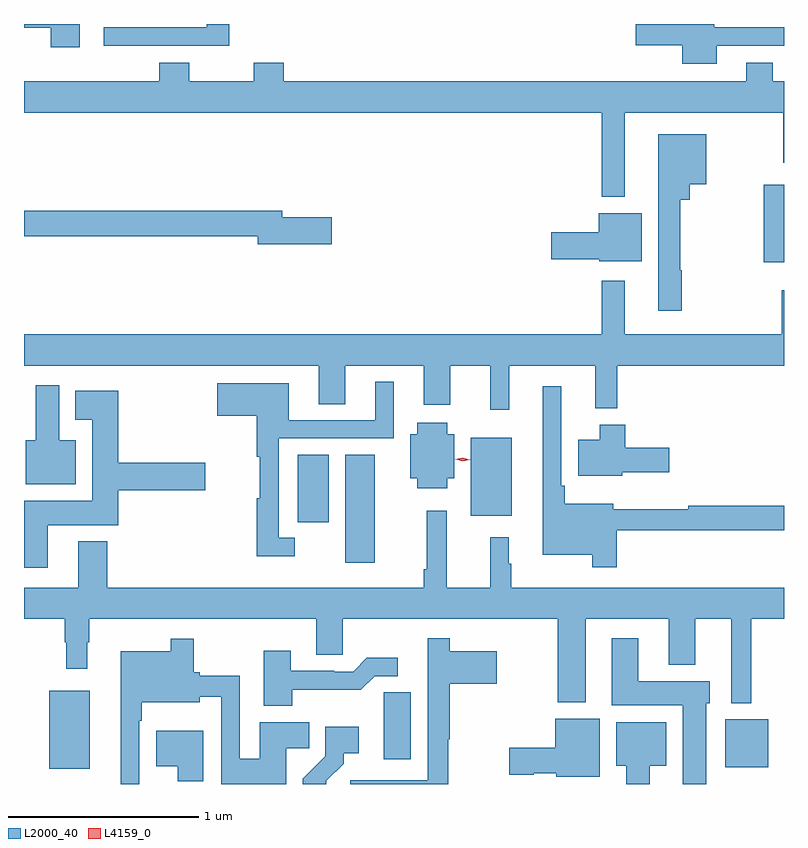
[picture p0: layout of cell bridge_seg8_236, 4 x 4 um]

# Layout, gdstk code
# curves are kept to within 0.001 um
import gdstk
lib = gdstk.Library(unit=1e-6, precision=1e-09)
def R(c, l, rs):  # rectangles x0, y0, x1, y1
    for r in rs: c.add(gdstk.rectangle(r[:2], r[2:], *l))
def P(c, l, *ps):  # polygons
    for p in ps: c.add(gdstk.Polygon(p, *l))
L2000_40 = (2000, 40)
L4159_0 = (4159, 0)

bridge_seg8_236 = lib.new_cell('bridge_seg8_236')
R(bridge_seg8_236, L2000_40, [(288.344,1131.695,288.559,1132.105), (291.902,1131.701,292.129,1131.955), (289.904,1132.779,290.059,1133.348), (289.652,1132.992,289.816,1133.348), (290.564,1133.027,290.779,1133.437), (292.106,1134.359,292.212,1134.769)])
P(bridge_seg8_236, L2000_40, [(291.859,1135.5),(292.212,1135.5),(292.212,1135.596),(291.844,1135.596),(291.844,1135.614),(291.432,1135.614),(291.432,1135.502),(291.677,1135.502),(291.677,1135.406),(291.859,1135.406)],
  [(288.505,1135.614),(288.212,1135.614),(288.212,1135.595),(288.353,1135.595),(288.353,1135.491),(288.505,1135.491)],
  [(289.292,1135.614),(289.174,1135.614),(289.174,1135.596),(288.633,1135.596),(288.633,1135.5),(289.292,1135.5)],
  [(291.373,1135.148),(292.209,1135.148),(292.209,1134.885),(292.212,1134.885),(292.212,1135.312),(292.153,1135.312),(292.153,1135.411),(292.013,1135.411),(292.013,1135.312),(289.58,1135.312),(289.58,1135.411),(289.42,1135.411),(289.42,1135.312),(289.083,1135.312),(289.083,1135.411),(288.923,1135.411),(288.923,1135.312),(288.212,1135.312),(288.212,1135.148),(291.252,1135.148),(291.252,1134.704),(291.373,1134.704)],
  [(291.673,1134.317),(291.665,1134.317),(291.665,1134.689),(291.717,1134.689),(291.717,1134.77),(291.802,1134.77),(291.802,1135.033),(291.551,1135.033),(291.551,1134.105),(291.673,1134.105)],
  [(289.831,1134.596),(289.57,1134.596),(289.57,1134.632),(288.212,1134.632),(288.212,1134.496),(289.442,1134.496),(289.442,1134.454),(289.831,1134.454)],
  [(291.463,1134.619),(291.236,1134.619),(291.236,1134.518),(290.988,1134.518),(290.988,1134.376),(291.24,1134.376),(291.24,1134.365),(291.463,1134.365)],
  [(290.765,1133.816),(291.218,1133.816),(291.218,1133.591),(291.335,1133.591),(291.335,1133.816),(292.212,1133.816),(292.212,1134.214),(292.201,1134.214),(292.201,1133.98),(291.373,1133.98),(291.373,1134.262),(291.252,1134.262),(291.252,1133.98),(288.212,1133.98),(288.212,1133.816),(289.763,1133.816),(289.763,1133.614),(289.903,1133.614),(289.903,1133.816),(290.315,1133.816),(290.315,1133.61),(290.455,1133.61),(290.455,1133.816),(290.666,1133.816),(290.666,1133.583),(290.765,1133.583)],
  [(289.636,1132.911),(289.554,1132.911),(289.554,1133.433),(290.158,1133.433),(290.158,1133.731),(290.06,1133.731),(290.06,1133.529),(289.606,1133.529),(289.606,1133.722),(289.23,1133.722),(289.23,1133.552),(289.438,1133.552),(289.438,1133.336),(289.453,1133.336),(289.453,1133.118),(289.438,1133.118),(289.438,1132.814),(289.636,1132.814)],
  [(288.484,1133.422),(288.397,1133.422),(288.397,1133.713),(288.275,1133.713),(288.275,1133.422),(288.221,1133.422),(288.221,1133.192),(288.484,1133.192)],
  [(291.332,1132.95),(292.212,1132.95),(292.212,1133.078),(291.709,1133.078),(291.709,1133.06),(291.313,1133.06),(291.313,1133.089),(291.059,1133.089),(291.059,1133.185),(291.039,1133.185),(291.039,1133.707),(290.942,1133.707),(290.942,1132.82),(291.204,1132.82),(291.204,1132.755),(291.332,1132.755)],
  [(288.337,1132.976),(288.707,1132.976),(288.707,1133.159),(289.165,1133.159),(289.165,1133.306),(288.707,1133.306),(288.707,1133.683),(288.482,1133.683),(288.482,1133.531),(288.572,1133.531),(288.572,1133.104),(288.212,1133.104),(288.212,1132.752),(288.337,1132.752)],
  [(290.44,1133.222),(290.476,1133.222),(290.476,1133.455),(290.44,1133.455),(290.44,1133.515),(290.282,1133.515),(290.282,1133.455),(290.246,1133.455),(290.246,1133.222),(290.282,1133.222),(290.282,1133.171),(290.44,1133.171)],
  [(291.36,1133.255),(291.607,1133.255),(291.607,1133.385),(291.377,1133.385),(291.377,1133.506),(291.242,1133.506),(291.242,1133.425),(291.128,1133.425),(291.128,1133.237),(291.36,1133.237)],
  [(292.039,1132.484),(292.212,1132.484),(292.212,1132.648),(290.776,1132.648),(290.776,1132.772),(290.764,1132.772),(290.764,1132.912),(290.665,1132.912),(290.665,1132.648),(290.436,1132.648),(290.436,1133.053),(290.332,1133.053),(290.332,1132.744),(290.317,1132.744),(290.317,1132.648),(288.65,1132.648),(288.65,1132.891),(288.497,1132.891),(288.497,1132.648),(288.212,1132.648),(288.212,1132.484),(288.427,1132.484),(288.427,1132.361),(288.435,1132.361),(288.435,1132.221),(288.544,1132.221),(288.544,1132.361),(288.556,1132.361),(288.556,1132.484),(289.751,1132.484),(289.751,1132.294),(289.89,1132.294),(289.89,1132.484),(291.022,1132.484),(291.022,1132.043),(291.169,1132.043),(291.169,1132.484),(291.605,1132.484),(291.605,1132.241),(291.745,1132.241),(291.745,1132.484),(291.935,1132.484),(291.935,1132.04),(292.039,1132.04)],
  [(291.802,1132.038),(291.82,1132.038),(291.82,1132.156),(291.445,1132.156),(291.445,1132.381),(291.305,1132.381),(291.305,1132.028),(291.68,1132.028),(291.68,1131.614),(291.802,1131.614)],
  [(290.446,1131.849),(290.453,1131.849),(290.453,1132.142),(290.701,1132.142),(290.701,1132.312),(290.453,1132.312),(290.453,1132.381),(290.336,1132.381),(290.336,1132.158),(290.337,1132.158),(290.337,1131.633),(289.929,1131.633),(289.929,1131.614),(290.446,1131.614)],
  [(288.819,1131.947),(288.832,1131.947),(288.832,1132.043),(289.138,1132.043),(289.138,1132.073),(289.251,1132.073),(289.251,1131.614),(289.591,1131.614),(289.591,1131.802),(289.712,1131.802),(289.712,1131.94),(289.454,1131.94),(289.454,1131.746),(289.347,1131.746),(289.347,1132.183),(289.138,1132.183),(289.138,1132.201),(289.105,1132.201),(289.105,1132.378),(288.984,1132.378),(288.984,1132.312),(288.722,1132.312),(288.722,1131.614),(288.819,1131.614)],
  [(289.623,1132.11),(289.985,1132.109),(290.058,1132.182),(290.179,1132.182),(290.179,1132.279),(290.017,1132.279),(289.944,1132.206),(289.844,1132.206),(289.844,1132.209),(289.615,1132.209),(289.615,1132.315),(289.475,1132.315),(289.475,1132.025),(289.623,1132.025)],
  [(290.248,1132.097),(290.106,1132.097),(290.106,1131.986),(290.105,1131.986),(290.105,1131.744),(290.248,1131.744)],
  [(291.241,1131.958),(291.008,1131.958),(291.008,1131.806),(290.766,1131.806),(290.766,1131.664),(290.895,1131.664),(290.895,1131.671),(291.012,1131.671),(291.012,1131.653),(291.241,1131.653)],
  [(291.505,1131.71),(291.592,1131.71),(291.592,1131.94),(291.329,1131.94),(291.329,1131.71),(291.383,1131.71),(291.383,1131.614),(291.505,1131.614)],
  [(289.804,1131.631),(289.894,1131.721),(289.894,1131.776),(289.975,1131.776),(289.975,1131.916),(289.797,1131.916),(289.797,1131.761),(289.678,1131.642),(289.678,1131.614),(289.804,1131.614)],
  [(289.156,1131.895),(288.908,1131.895),(288.908,1131.707),(289.022,1131.707),(289.022,1131.629),(289.156,1131.629)])
P(bridge_seg8_236, L4159_0, [(290.52,1133.312),(290.482,1133.323),(290.482,1133.323),(290.482,1133.323),(290.521,1133.332),(290.559,1133.32),(290.56,1133.32),(290.559,1133.32)])

lib.write_gds('bridge_seg8_236.gds')
